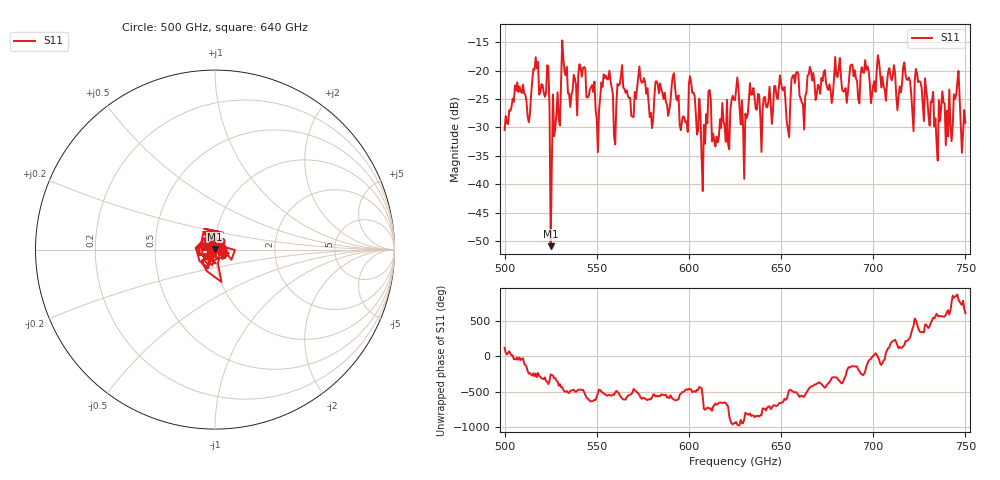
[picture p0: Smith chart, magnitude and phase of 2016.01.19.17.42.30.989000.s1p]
!Created with skrf (http://scikit-rf.org).
# GHz S RI R 50.0
!freq ReS11 ImS11
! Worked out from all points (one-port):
!   401 points, 500 GHz to 750 GHz, reference 50 ohm
!   lowest |S11| = -50.8 dB at 525 GHz (marker M1), VSWR 1.01, Z = 49.9 + j0.278 ohm
!   |S11| at or under -10 dB: start of sweep to end of sweep
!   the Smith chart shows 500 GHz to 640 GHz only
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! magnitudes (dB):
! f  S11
! 500 GHz  -30.4
! 506.9 GHz  -22.1
! 513.1 GHz  -29.1
! 516.9 GHz  -17.7
! 523.1 GHz  -19.1
! 525 GHz  -50.8
! 526.2 GHz  -24.2
! 531.2 GHz  -14.7
! 542.5 GHz  -19.5
! 550.6 GHz  -34.3
! 562.5 GHz  -22.4
! 593.8 GHz  -25.3
! 598.1 GHz  -29.1
! 601.2 GHz  -22.2
! 608.1 GHz  -29.5
! 610.6 GHz  -23.6
! 615 GHz  -31.6
! 625 GHz  -25.2
! 630.6 GHz  -27.6
! 633.8 GHz  -24.3
! 650.6 GHz  -23.3
! 653.8 GHz  -30.4
! 656.2 GHz  -21.0
! 687.5 GHz  -19.3
! 718.8 GHz  -21.7
! 734.4 GHz  -32.8
! 745 GHz  -24.3
! 750 GHz  -29.2
